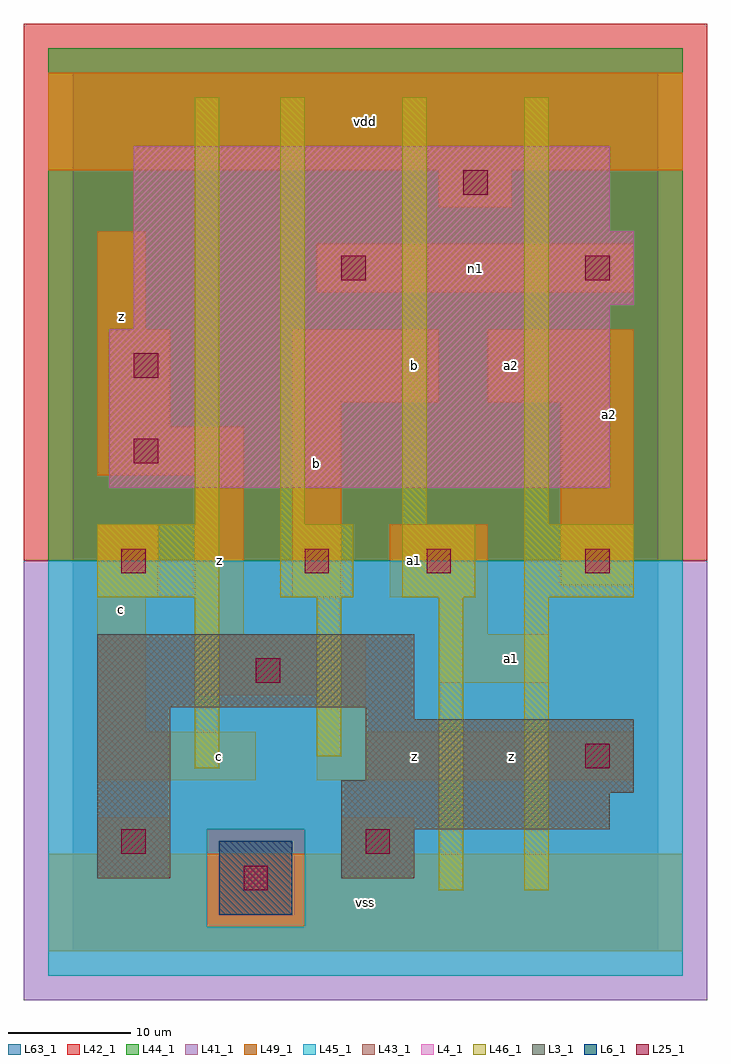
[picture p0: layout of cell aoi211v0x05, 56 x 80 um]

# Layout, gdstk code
import gdstk
lib = gdstk.Library(unit=1e-6, precision=1e-09)
def R(c, l, rs):  # rectangles x0, y0, x1, y1
    for r in rs: c.add(gdstk.rectangle(r[:2], r[2:], *l))
def A(c, l, x, y, w, h, nx, ny, dx, dy):  # array of equal rectangles
    R(c, l, [(x+i*dx, y+j*dy, x+i*dx+w, y+j*dy+h) for i in range(nx) for j in range(ny)])
L3_1 = (3, 1)
L4_1 = (4, 1)
L6_1 = (6, 1)
L25_1 = (25, 1)
L41_1 = (41, 1)
L42_1 = (42, 1)
L43_1 = (43, 1)
L44_1 = (44, 1)
L45_1 = (45, 1)
L46_1 = (46, 1)
L49_1 = (49, 1)
L63_1 = (63, 1)

aoi211v0x05 = lib.new_cell('aoi211v0x05')
R(aoi211v0x05, L3_1, [(2,6,8,20), (22,6,28,10), (22,10,44,13), (22,13,46,14), (24,14,46,19), (24,19,28,20), (2,20,28,26)])
R(aoi211v0x05, L4_1, [(3,38,44,51), (5,51,44,53), (5,53,46,59), (5,59,44,66)])
R(aoi211v0x05, L6_1, [(12,3,18,9), (12,3,18,9)])
R(aoi211v0x05, L25_1, [(14,5,16,7), (4,8,6,10), (24,8,26,10), (42,15,44,17), (15,22,17,24), (4,31,6,33), (19,31,21,33), (29,31,31,33), (42,31,44,33), (5,40,7,42), (5,47,7,49), (22,55,24,57), (42,55,44,57), (32,62,34,64)])
R(aoi211v0x05, L41_1, [(-4,-4,52,32)])
R(aoi211v0x05, L42_1, [(-4,32,52,76)])
R(aoi211v0x05, L43_1, [(12,3,18,9), (2,6,8,20), (22,6,28,10), (22,10,44,13), (22,13,46,14), (24,14,46,19), (24,19,28,20), (2,20,28,26), (3,38,44,51), (5,51,44,53), (5,53,46,59), (5,59,44,66)])
R(aoi211v0x05, L44_1, [(11,2,19,10), (-2,32,50,74)])
R(aoi211v0x05, L45_1, [(-2,-2,50,2), (-2,2,11,10), (19,2,50,10), (-2,10,50,32)])
A(aoi211v0x05, L46_1, 17, 35, 2, 35, 3, 1, 10, 0)
R(aoi211v0x05, L46_1, [(30,5,32,29), (37,5,39,29), (10,15,12,29), (20,16,22,29), (2,29,12,35), (17,29,23,35), (27,29,33,35), (37,29,46,35), (10,35,12,70)])
R(aoi211v0x05, L49_1, [(-2,0,50,8), (2,8,8,11), (22,8,28,11), (2,14,15,18), (20,14,46,18), (2,18,6,29), (20,18,24,21), (10,21,24,26), (30,22,39,26), (10,26,14,39), (30,26,34,29), (2,29,7,35), (18,29,22,45), (26,29,34,35), (40,30,46,45), (2,39,14,43), (2,43,8,51), (18,45,30,51), (34,45,46,51), (2,51,6,59), (20,54,46,58), (30,61,36,64), (-2,64,50,72)])
R(aoi211v0x05, L63_1, [(0,0,48,72)])
aoi211v0x05.add(gdstk.Label('c', (4,28), layer=49, texttype=1))
aoi211v0x05.add(gdstk.Label('z', (4,52), layer=49, texttype=1))
aoi211v0x05.add(gdstk.Label('c', (12,16), layer=49, texttype=1))
aoi211v0x05.add(gdstk.Label('z', (12,32), layer=49, texttype=1))
aoi211v0x05.add(gdstk.Label('b', (20,40), layer=49, texttype=1))
aoi211v0x05.add(gdstk.Label('vss', (24,4), layer=49, texttype=1))
aoi211v0x05.add(gdstk.Label('z', (28,16), layer=49, texttype=1))
aoi211v0x05.add(gdstk.Label('a1', (28,32), layer=49, texttype=1))
aoi211v0x05.add(gdstk.Label('b', (28,48), layer=49, texttype=1))
aoi211v0x05.add(gdstk.Label('vdd', (24,68), layer=49, texttype=1))
aoi211v0x05.add(gdstk.Label('z', (36,16), layer=49, texttype=1))
aoi211v0x05.add(gdstk.Label('a1', (36,24), layer=49, texttype=1))
aoi211v0x05.add(gdstk.Label('a2', (36,48), layer=49, texttype=1))
aoi211v0x05.add(gdstk.Label('a2', (44,44), layer=49, texttype=1))
aoi211v0x05.add(gdstk.Label('n1', (33,56), layer=49, texttype=1))

lib.write_gds('aoi211v0x05.gds')
